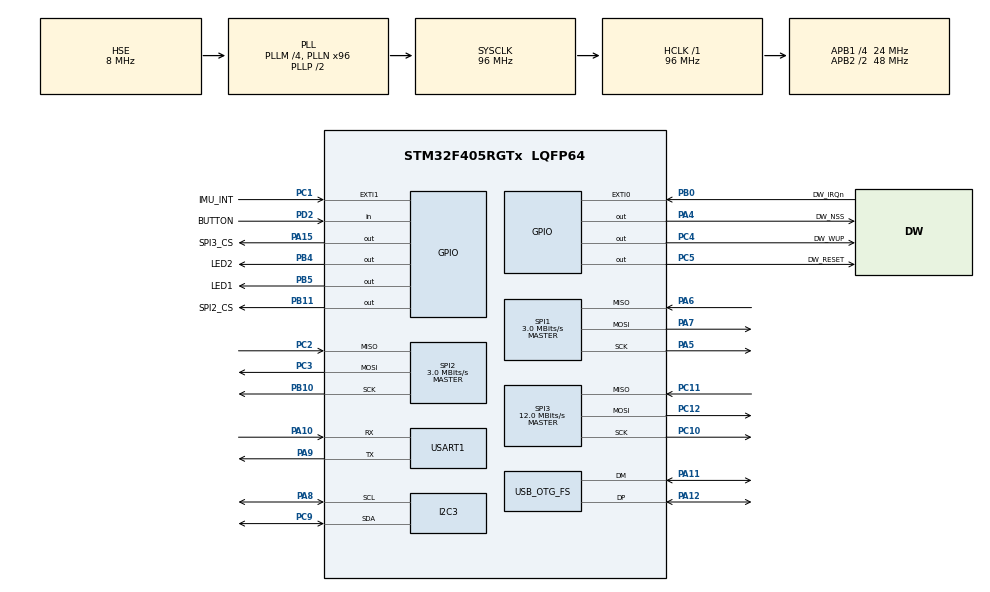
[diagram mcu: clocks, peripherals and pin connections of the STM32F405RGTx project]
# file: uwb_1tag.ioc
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Mcu.Family=STM32F4
Mcu.Name=STM32F405RGTx
Mcu.Package=LQFP64
NVIC.EXTI0_IRQn=true\:0\:0\:false\:false\:true\:true\:true\:true
NVIC.EXTI1_IRQn=true\:0\:0\:false\:false\:true\:true\:true\:true
NVIC.OTG_FS_IRQn=true\:0\:0\:false\:false\:true\:false\:true\:true
NVIC.PriorityGroup=NVIC_PRIORITYGROUP_4
NVIC.USART1_IRQn=true\:0\:0\:false\:false\:true\:true\:true\:true
PA10.Mode=Asynchronous
PA10.Signal=USART1_RX
PA11.Mode=Device_Only
PA11.Signal=USB_OTG_FS_DM
PA12.Mode=Device_Only
PA12.Signal=USB_OTG_FS_DP
PA13.Mode=Serial_Wire
PA13.Signal=SYS_JTMS-SWDIO
PA14.Mode=Serial_Wire
PA14.Signal=SYS_JTCK-SWCLK
PA15.GPIO_Label=SPI3_CS
PA15.GPIO_Speed=GPIO_SPEED_FREQ_HIGH
PA15.PinState=GPIO_PIN_SET
PA15.Signal=GPIO_Output
PA4.GPIO_Label=DW_NSS
PA4.GPIO_Speed=GPIO_SPEED_FREQ_HIGH
PA4.PinState=GPIO_PIN_SET
PA4.Signal=GPIO_Output
PA5.Mode=Full_Duplex_Master
PA5.Signal=SPI1_SCK
PA6.Mode=Full_Duplex_Master
PA6.Signal=SPI1_MISO
PA7.Mode=Full_Duplex_Master
PA7.Signal=SPI1_MOSI
PA8.Mode=I2C
PA8.Signal=I2C3_SCL
PA9.Mode=Asynchronous
PA9.Signal=USART1_TX
PB0.GPIO_Label=DW_IRQn
PB0.GPIO_PuPd=GPIO_PULLDOWN
PB0.Signal=GPXTI0
PB10.Mode=Full_Duplex_Master
PB10.Signal=SPI2_SCK
PB11.GPIO_Label=SPI2_CS
PB11.GPIO_Speed=GPIO_SPEED_FREQ_HIGH
PB11.PinState=GPIO_PIN_SET
PB11.Signal=GPIO_Output
PB4.GPIO_Label=LED2
PB4.Signal=GPIO_Output
PB5.GPIO_Label=LED1
PB5.Signal=GPIO_Output
PC1.GPIO_Label=IMU_INT
PC1.Signal=GPXTI1
PC10.Mode=Full_Duplex_Master
PC10.Signal=SPI3_SCK
PC11.Mode=Full_Duplex_Master
PC11.Signal=SPI3_MISO
PC12.Mode=Full_Duplex_Master
PC12.Signal=SPI3_MOSI
PC2.Mode=Full_Duplex_Master
PC2.Signal=SPI2_MISO
PC3.Mode=Full_Duplex_Master
PC3.Signal=SPI2_MOSI
PC4.GPIO_Label=DW_WUP
PC4.GPIO_ModeDefaultOutputPP=GPIO_MODE_OUTPUT_OD
PC4.GPIO_PuPd=GPIO_NOPULL
PC4.GPIO_Speed=GPIO_SPEED_FREQ_HIGH
PC4.PinState=GPIO_PIN_RESET
PC4.Signal=GPIO_Output
PC5.GPIO_Label=DW_RESET
PC5.GPIO_ModeDefaultOutputPP=GPIO_MODE_OUTPUT_OD
PC5.GPIO_PuPd=GPIO_NOPULL
PC5.GPIO_Speed=GPIO_SPEED_FREQ_HIGH
PC5.PinState=GPIO_PIN_SET
PC5.Signal=GPIO_Output
PC9.Mode=I2C
PC9.Signal=I2C3_SDA
PD2.GPIO_Label=BUTTON
PD2.Signal=GPIO_Input
PH0-OSC_IN.Mode=HSE-External-Oscillator
PH0-OSC_IN.Signal=RCC_OSC_IN
PH1-OSC_OUT.Mode=HSE-External-Oscillator
PH1-OSC_OUT.Signal=RCC_OSC_OUT
ProjectManager.HeapSize=0x200
ProjectManager.StackSize=0x400
ProjectManager.TargetToolchain=STM32CubeIDE
RCC.48MHZClocksFreq_Value=48000000
RCC.AHBFreq_Value=96000000
RCC.APB1CLKDivider=RCC_HCLK_DIV4
RCC.APB1Freq_Value=24000000
RCC.APB1TimFreq_Value=48000000
RCC.APB2CLKDivider=RCC_HCLK_DIV2
RCC.APB2Freq_Value=48000000
RCC.APB2TimFreq_Value=96000000
RCC.CortexFreq_Value=96000000
RCC.HCLKFreq_Value=96000000
RCC.HSE_VALUE=8000000
RCC.HSI_VALUE=16000000
RCC.LSE_VALUE=32768
RCC.PLLM=4
RCC.PLLN=96
RCC.SYSCLKFreq_VALUE=96000000
RCC.SYSCLKSource=RCC_SYSCLKSOURCE_PLLCLK
RCC.VCOOutputFreq_Value=192000000
SPI1.BaudRatePrescaler=SPI_BAUDRATEPRESCALER_16
SPI1.CalculateBaudRate=3.0 MBits/s
SPI1.Direction=SPI_DIRECTION_2LINES
SPI1.Mode=SPI_MODE_MASTER
SPI1.VirtualType=VM_MASTER
SPI2.BaudRatePrescaler=SPI_BAUDRATEPRESCALER_8
SPI2.CalculateBaudRate=3.0 MBits/s
SPI2.Direction=SPI_DIRECTION_2LINES
SPI2.Mode=SPI_MODE_MASTER
SPI2.VirtualType=VM_MASTER
SPI3.CalculateBaudRate=12.0 MBits/s
SPI3.Direction=SPI_DIRECTION_2LINES
SPI3.Mode=SPI_MODE_MASTER
SPI3.VirtualType=VM_MASTER
TIM1.Period=49999
TIM1.Prescaler=191
USART1.VirtualMode=VM_ASYNC
USB_DEVICE.CLASS_NAME_FS=CDC
USB_DEVICE.PRODUCT_STRING_CDC_FS=TAG UWB
USB_DEVICE.VirtualMode-CDC_FS=Cdc
USB_DEVICE.VirtualModeFS=Cdc_FS
USB_OTG_FS.VirtualMode=Device_Only
VP_TIM1_VS_ClockSourceINT.Mode=Internal
VP_USB_DEVICE_VS_USB_DEVICE_CDC_FS.Mode=CDC_FS
board=custom

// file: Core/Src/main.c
/* USER CODE BEGIN Header */
/**
  ******************************************************************************
  * @file           : main.c
  * @brief          : Main program body
  ******************************************************************************
  * @attention
  *
  * Copyright (c) 2025 STMicroelectronics.
  * All rights reserved.
  *
  * This software is licensed under terms that can be found in the LICENSE file
  * in the root directory of this software component.
  * If no LICENSE file comes with this software, it is provided AS-IS.
  *
  ******************************************************************************
  */
/* USER CODE END Header */
#include "main.h"
#include "i2c.h"
#include "spi.h"
#include "tim.h"
#include "usart.h"
#include "usb_device.h"
#include "gpio.h"

/* USER CODE BEGIN Includes */
#include "ssd1306_conf_template.h"
#include "ssd1306_fonts.h"
#include "ssd1306_tests.h"
#include "ssd1306.h"
#include "stdio.h"
#include "icm20948.h"

#include <stdio.h>
#include <string.h>
#include "math.h"
#include "app_uwb.h"
#include "app_uart_handler.h"

#include"kalman_filter.h"
/* USER CODE END Includes */

/* USER CODE BEGIN PTD */
/*
 * SPI1: DW1000
 * SPI2: ICM20948 : CS = B11
 * SPI3: BMP280
 * I2C3: OLED
 * B4, B5: LED
 * BUTTON: D2
 * UART1: DEBUG
 * STLINK debug: Không cắm chân 3v3, cắm pin 4.2V 2000mAh, bật nguồn, hoặc ko dùng pin mà cắm usb 5V
*/

uint8_t *data = "Hello USB CDC\n";
uint8_t buf_dis1[20];
uint8_t buffer[64];
uint8_t anchor_id=1;// sau đó extern sang usb_cdc_if.c

extern unsigned char garfield_128x64[];
extern unsigned char github_logo_64x64[];

axises my_gyro;
axises my_accel;
axises my_mag;
double a_x =0;

/* USER CODE END PTD */

/* USER CODE BEGIN PD */
//#define RNG_DELAY_MS 1000
//
///* Default antenna delay values for 64 MHz PRF. See NOTE 2 below. */
//#define TX_ANT_DLY 16436
//#define RX_ANT_DLY 16436
//
///* Length of the common part of the message (up to and including the function code, see NOTE 3 below). */
//#define ALL_MSG_COMMON_LEN 10
//
///* Indexes to access some of the fields in the frames defined above. */
//#define ALL_MSG_SN_IDX 2
//#define RESP_MSG_POLL_RX_TS_IDX 10
//#define RESP_MSG_RESP_TX_TS_IDX 14
//#define RESP_MSG_TS_LEN 4
//
///* Buffer to store received response message.
// * Its size is adjusted to longest frame that this example code is supposed to handle. */
//#define RX_BUF_LEN 20
//#define UUS_TO_DWT_TIME 65536
//#define POLL_TX_TO_RESP_RX_DLY_UUS 300
//#define RESP_RX_TIMEOUT_UUS 400
//#define SPEED_OF_LIGHT 299702547
double dis0, dis1, dis2, dis3 = 0;
 vec2d_t anchor_pos[4] = {
  {0.0, 0.0}, {0.0,4.38}, {1.46,4.38}, {1.46,0}
};
//config kalmal_filter
 kalmanFilter kf_x;
 kalmanFilter kf_y;
// char buff[50]={0};

/* USER CODE END PD */

void SystemClock_Config(void);

int main(void)
{

  /* MCU Configuration--------------------------------------------------------*/

  /* Reset of all peripherals, Initializes the Flash interface and the Systick. */
   HAL_Init();

  /* Configure the system clock */
  SystemClock_Config();

  /* Initialize all configured peripherals */
  MX_GPIO_Init();
  MX_SPI1_Init();
  MX_SPI2_Init();
  MX_USART1_UART_Init();
//  MX_USB_DEVICE_Init();
  MX_I2C3_Init();
  MX_TIM1_Init();
  MX_SPI3_Init();
  /* USER CODE BEGIN 2 */
//  ssd1306_Init();
  app_uwb_init();
  kalman_init(&kf_x, 0.1f, 0.1f, 0.01f, 0.0f);
  kalman_init(&kf_y, 0.1f, 0.1f, 0.01f, 0.0f);
  UART_HE_Receive_IT_Tag();
  HAL_TIM_Base_Start(&htim1);
  TIM1->CNT = 0;
  /* USER CODE END 2 */

  /* Infinite loop */
  while (1)
  {

    /* USER CODE BEGIN 3 */
////  //*-------tag_code--------*//
	  app_uwb_process_beacon_tag();
	  app_uwb_process_twr_tag(&dis0, &dis1, &dis2, &dis3);
	  app_uwb_process_dist_send(dis0,dis1,dis2,dis3);
//	  twr_tag(&dis0);

     //*-------anchor_code--------*//
//     app_uwb_process_beacon_anchor(anchor_id);
//     app_uwb_process_twr_anchor(anchor_id);
//     app_uwb_process_dist_revc(&dis0, &dis1, &dis2, &dis3,anchor_id);
//	  twr_anchor();
// check_becon_send_code
	  // HAL_GPIO_TogglePin(GPIOB, GPIO_PIN_4);

  }
  /* USER CODE END 3 */
}

void SystemClock_Config(void)
{
  RCC_OscInitTypeDef RCC_OscInitStruct = {0};
  RCC_ClkInitTypeDef RCC_ClkInitStruct = {0};

  /** Configure the main internal regulator output voltage
  */
  __HAL_RCC_PWR_CLK_ENABLE();
  __HAL_PWR_VOLTAGESCALING_CONFIG(PWR_REGULATOR_VOLTAGE_SCALE1);

  /** Initializes the RCC Oscillators according to the specified parameters
  * in the RCC_OscInitTypeDef structure.
  */
  RCC_OscInitStruct.OscillatorType = RCC_OSCILLATORTYPE_HSE;
  RCC_OscInitStruct.HSEState = RCC_HSE_ON;
  RCC_OscInitStruct.PLL.PLLState = RCC_PLL_ON;
  RCC_OscInitStruct.PLL.PLLSource = RCC_PLLSOURCE_HSE;
  RCC_OscInitStruct.PLL.PLLM = 4;
  RCC_OscInitStruct.PLL.PLLN = 96;
  RCC_OscInitStruct.PLL.PLLP = RCC_PLLP_DIV2;
  RCC_OscInitStruct.PLL.PLLQ = 4;
  if (HAL_RCC_OscConfig(&RCC_OscInitStruct) != HAL_OK)
  {
    Error_Handler();
  }

  /** Initializes the CPU, AHB and APB buses clocks
  */
  RCC_ClkInitStruct.ClockType = RCC_CLOCKTYPE_HCLK|RCC_CLOCKTYPE_SYSCLK
                              |RCC_CLOCKTYPE_PCLK1|RCC_CLOCKTYPE_PCLK2;
  RCC_ClkInitStruct.SYSCLKSource = RCC_SYSCLKSOURCE_PLLCLK;
  RCC_ClkInitStruct.AHBCLKDivider = RCC_SYSCLK_DIV1;
  RCC_ClkInitStruct.APB1CLKDivider = RCC_HCLK_DIV4;
  RCC_ClkInitStruct.APB2CLKDivider = RCC_HCLK_DIV2;

  if (HAL_RCC_ClockConfig(&RCC_ClkInitStruct, FLASH_LATENCY_3) != HAL_OK)
  {
    Error_Handler();
  }
}

void Error_Handler(void)
{
  __disable_irq();
  while (1)
  {
  }
}
